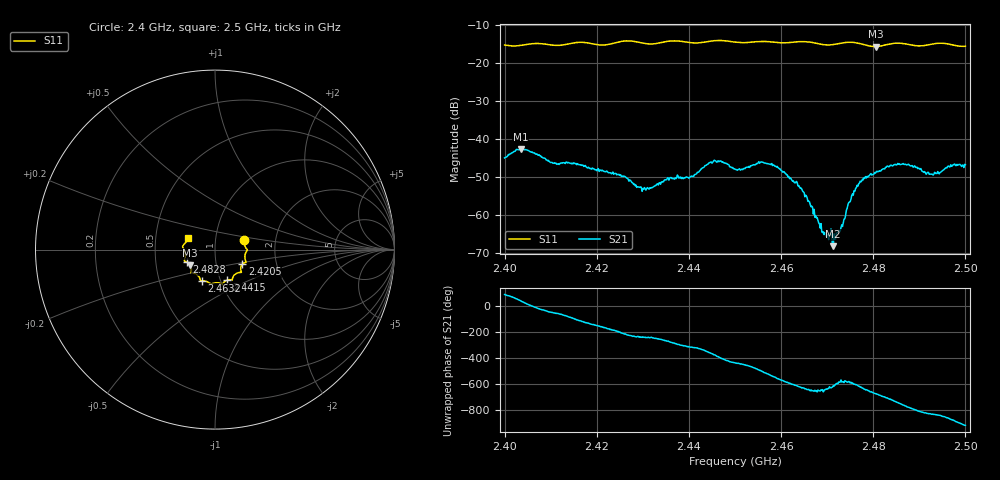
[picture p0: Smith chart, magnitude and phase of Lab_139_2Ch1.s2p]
# Hz S RI R
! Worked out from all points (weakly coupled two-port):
!   601 points, 2.4 GHz to 2.5 GHz, reference 50 ohm
!   highest |S21| = -42.61 dB at 2.4035 GHz (marker M1); lowest = -68.2 dB at 2.4713 GHz (marker M2)
!   lowest |S11| = -15.7 dB at 2.4805 GHz (marker M3), VSWR 1.39, Z = 37.3 - j6.69 ohm
!   |S11| at or under -10 dB: start of sweep to end of sweep
!   S12 and S22 are empty: the file has one direction only
!   S11 on the Smith chart (normalised r, x): 2.4 GHz: 1.38, +0.15; 2.4205 GHz: 1.34, -0.23; 2.4415 GHz: 1.07, -0.38; 2.4632 GHz: 0.82, -0.29; 2.4828 GHz: 0.72, -0.10; 2.5 GHz: 0.73, +0.10
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2.4e9  0.1636 0.0517  0.000256 0.00564  0 0  0 0
2.4035e9  0.1691 0.0142  0.00581 0.00459  0 0  0 0
2.411e9  0.1681 -0.0258  0.00258 -0.00401  0 0  0 0
2.416667e9  0.173 -0.07  -0.00209 -0.00399  0 0  0 0
2.4205e9  0.1521 -0.0817  -0.00341 -0.00155  0 0  0 0
2.430167e9  0.1266 -0.13  -0.00104 0.00191  0 0  0 0
2.433333e9  0.1003 -0.1516  -0.00075 0.00237  0 0  0 0
2.4415e9  0.0656 -0.1706  0.00273 0.00209  0 0  0 0
2.445833e9  0.0415 -0.1923  0.00477 -0.00191  0 0  0 0
2.45e9  0.0243 -0.1861  0.000821 -0.00394  0 0  0 0
2.456167e9  -0.0222 -0.1904  -0.00424 -0.0025  0 0  0 0
2.463167e9  -0.0732 -0.1739  -0.000868 0.00252  0 0  0 0
2.466667e9  -0.0822 -0.167  0.000529 0.00119  0 0  0 0
2.469333e9  -0.0933 -0.1464  0.000203 0.000516  0 0  0 0
2.471333e9  -0.1122 -0.1335  -0.000106 0.000376  0 0  0 0
2.473167e9  -0.1279 -0.1301  -0.000514 0.000541  0 0  0 0
2.476667e9  -0.1325 -0.1248  -0.000647 0.0023  0 0  0 0
2.4805e9  -0.1389 -0.0873  0.00258 0.00248  0 0  0 0
2.482833e9  -0.1587 -0.0701  0.00417 0.0009  0 0  0 0
2.483333e9  -0.1625 -0.068  0.0043 0.000429  0 0  0 0
2.492667e9  -0.1763 0.00739  -0.00144 -0.00313  0 0  0 0
2.5e9  -0.1527 0.0643  -0.00428 0.00161  0 0  0 0
